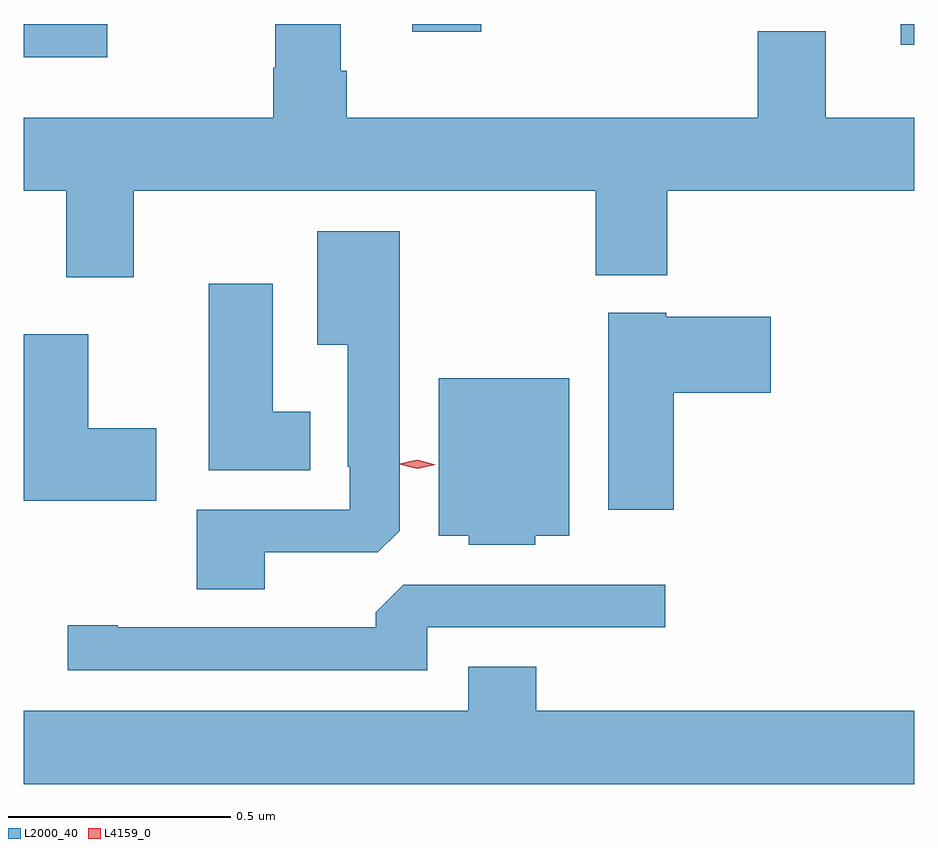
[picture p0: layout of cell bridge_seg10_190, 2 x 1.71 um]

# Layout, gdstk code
import gdstk
lib = gdstk.Library(unit=1e-6, precision=1e-09)
def R(c, l, rs):  # rectangles x0, y0, x1, y1
    for r in rs: c.add(gdstk.rectangle(r[:2], r[2:], *l))
def P(c, l, *ps):  # polygons
    for p in ps: c.add(gdstk.Polygon(p, *l))
L2000_40 = (2000, 40)
L4159_0 = (4159, 0)

bridge_seg10_190 = lib.new_cell('bridge_seg10_190')
R(bridge_seg10_190, L2000_40, [(156.711,1281.968,156.898,1282.043), (158.681,1281.996,158.711,1282.043), (157.583,1282.026,157.739,1282.043)])
P(bridge_seg10_190, L2000_40, [(156.958,1281.668),(157.996,1281.668),(157.996,1281.479),(158.156,1281.479),(158.156,1281.668),(158.711,1281.668),(158.711,1281.832),(158.512,1281.832),(158.512,1282.027),(158.36,1282.027),(158.36,1281.832),(157.436,1281.832),(157.436,1281.938),(157.423,1281.938),(157.423,1282.043),(157.276,1282.043),(157.276,1281.945),(157.271,1281.945),(157.271,1281.832),(156.711,1281.832),(156.711,1281.668),(156.806,1281.668),(156.806,1281.474),(156.958,1281.474)],
  [(157.252,1280.856),(157.506,1280.856),(157.555,1280.905),(157.555,1281.577),(157.37,1281.577),(157.37,1281.323),(157.439,1281.323),(157.439,1281.049),(157.443,1281.049),(157.443,1280.952),(157.1,1280.952),(157.1,1280.773),(157.252,1280.773)],
  [(157.354,1281.172),(157.27,1281.172),(157.27,1281.46),(157.127,1281.46),(157.127,1281.041),(157.354,1281.041)],
  [(158.171,1281.215),(158.389,1281.215),(158.389,1281.385),(158.154,1281.385),(158.154,1281.394),(158.024,1281.394),(158.024,1280.952),(158.171,1280.952)],
  [(157.009,1281.135),(156.856,1281.135),(156.856,1281.346),(156.711,1281.346),(156.711,1280.972),(157.009,1280.972)],
  [(157.86,1280.894),(157.936,1280.894),(157.936,1281.247),(157.643,1281.247),(157.643,1280.894),(157.71,1280.894),(157.71,1280.873),(157.86,1280.873)],
  [(157.617,1280.688),(158.152,1280.688),(158.152,1280.784),(157.563,1280.784),(157.502,1280.722),(157.502,1280.688),(156.922,1280.688),(156.922,1280.693),(156.81,1280.693),(156.81,1280.592),(157.617,1280.592)],
  [(158.711,1280.5),(157.862,1280.5),(157.862,1280.599),(157.709,1280.599),(157.709,1280.5),(156.711,1280.5),(156.711,1280.336),(158.711,1280.336)])
P(bridge_seg10_190, L4159_0, [(157.595,1281.044),(157.554,1281.054),(157.554,1281.054),(157.554,1281.055),(157.595,1281.064),(157.636,1281.053),(157.636,1281.053),(157.636,1281.053)])

lib.write_gds('bridge_seg10_190.gds')
